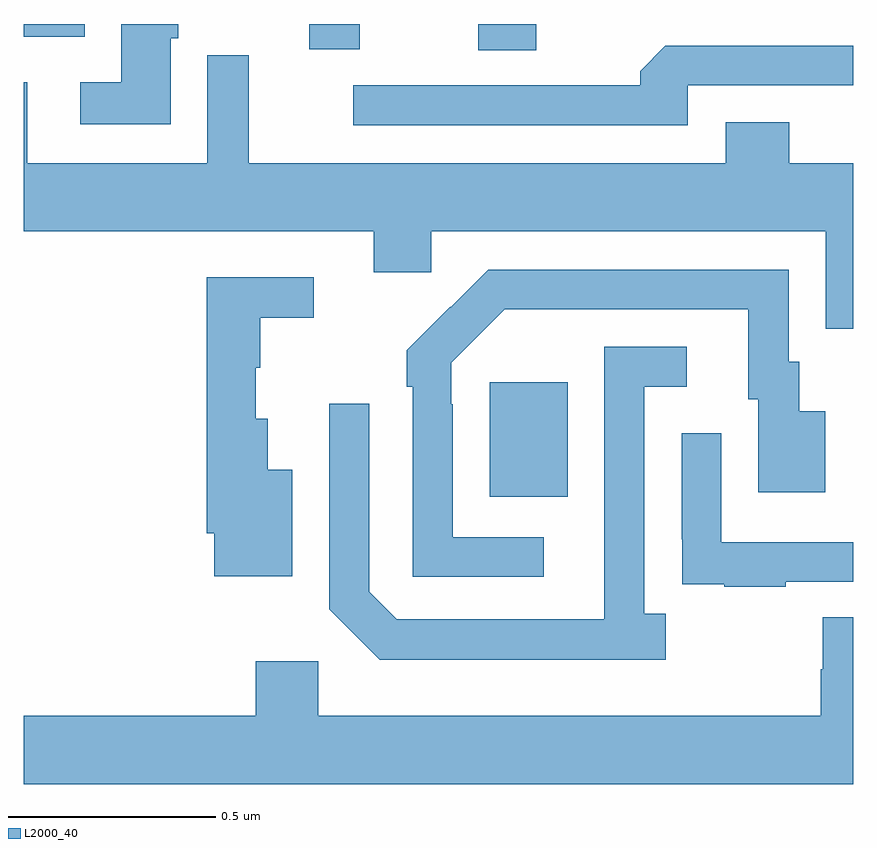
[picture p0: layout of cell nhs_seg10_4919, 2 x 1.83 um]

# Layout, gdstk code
import gdstk
lib = gdstk.Library(unit=1e-6, precision=1e-09)
def R(c, l, rs):  # rectangles x0, y0, x1, y1
    for r in rs: c.add(gdstk.rectangle(r[:2], r[2:], *l))
def P(c, l, *ps):  # polygons
    for p in ps: c.add(gdstk.Polygon(p, *l))
L2000_40 = (2000, 40)

nhs_seg10_4919 = lib.new_cell('nhs_seg10_4919')
R(nhs_seg10_4919, L2000_40, [(173.123,1282.361,173.311,1282.636), (173.096,1283.437,173.236,1283.5), (172.688,1283.439,172.81,1283.5), (172,1283.469,172.147,1283.5)])
P(nhs_seg10_4919, L2000_40, [(172.354,1283.466),(172.373,1283.466),(172.373,1283.5),(172.235,1283.5),(172.235,1283.359),(172.137,1283.359),(172.137,1283.258),(172.354,1283.258)],
  [(173.601,1283.352),(174,1283.352),(174,1283.448),(173.547,1283.448),(173.486,1283.386),(173.486,1283.352),(172.794,1283.352),(172.794,1283.256),(173.601,1283.256)],
  [(173.693,1283.263),(173.693,1283.164),(172.542,1283.164),(172.542,1283.425),(172.443,1283.425),(172.443,1283.164),(172.009,1283.164),(172.009,1283.359),(172,1283.359),(172,1283),(172.844,1283),(172.844,1282.902),(172.983,1282.902),(172.983,1283),(173.933,1283),(173.933,1282.765),(174,1282.765),(174,1283.164),(173.846,1283.164),(173.846,1283.263)],
  [(173.254,1282.263),(173.034,1282.263),(173.034,1282.583),(173.031,1282.583),(173.031,1282.683),(173.16,1282.812),(173.747,1282.812),(173.747,1282.596),(173.771,1282.596),(173.771,1282.371),(173.932,1282.371),(173.932,1282.567),(173.869,1282.567),(173.869,1282.686),(173.844,1282.686),(173.844,1282.908),(173.12,1282.908),(173.029,1282.817),(173.028,1282.818),(172.923,1282.713),(172.923,1282.625),(172.938,1282.625),(172.938,1282.167),(173.254,1282.167)],
  [(172.648,1282.426),(172.588,1282.426),(172.588,1282.549),(172.559,1282.549),(172.559,1282.671),(172.57,1282.671),(172.57,1282.792),(172.699,1282.792),(172.699,1282.89),(172.441,1282.89),(172.441,1282.273),(172.46,1282.273),(172.46,1282.169),(172.648,1282.169)],
  [(173.548,1282.078),(173.496,1282.078),(173.496,1282.626),(173.599,1282.626),(173.599,1282.722),(173.4,1282.722),(173.4,1282.265),(173.399,1282.265),(173.399,1282.065),(172.899,1282.065),(172.833,1282.131),(172.833,1282.585),(172.737,1282.585),(172.737,1282.089),(172.858,1281.968),(173.548,1281.968)],
  [(173.837,1282.155),(174,1282.155),(174,1282.251),(173.682,1282.251),(173.682,1282.513),(173.586,1282.513),(173.586,1282.258),(173.587,1282.258),(173.587,1282.149),(173.689,1282.149),(173.689,1282.143),(173.837,1282.143)],
  [(174,1282.07),(173.926,1282.07),(173.926,1281.945),(173.921,1281.945),(173.921,1281.832),(172.71,1281.832),(172.71,1281.964),(172.559,1281.964),(172.559,1281.832),(172,1281.832),(172,1281.668),(174,1281.668)])

lib.write_gds('nhs_seg10_4919.gds')
